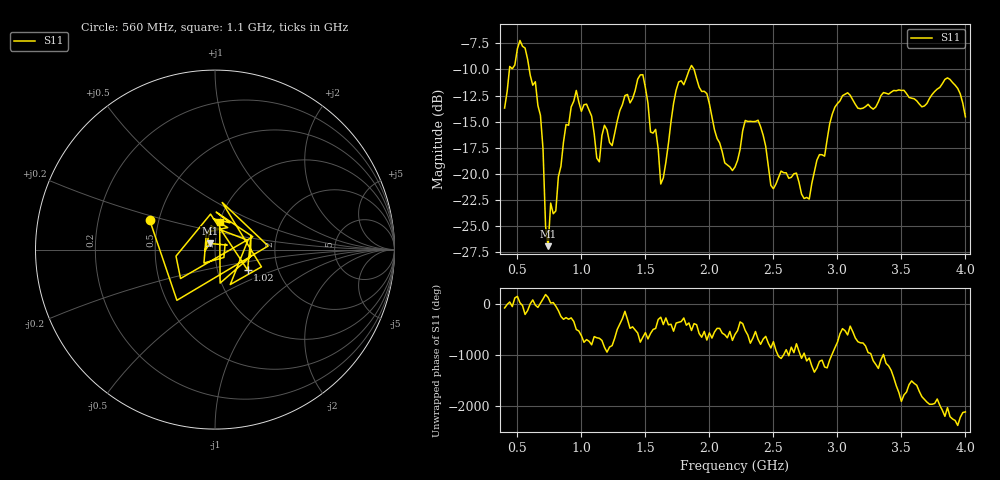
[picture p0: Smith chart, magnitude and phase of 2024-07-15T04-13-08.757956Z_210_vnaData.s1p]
!Created with skrf (http://scikit-rf.org).
# Hz S RI R 50.0
!freq ReS11 ImS11
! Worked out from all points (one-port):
!   181 points, 400 MHz to 4 GHz, reference 50 ohm
!   lowest |S11| = -26.9 dB at 740 MHz (marker M1), VSWR 1.09, Z = 47.1 + j3.24 ohm
!   |S11| at or under -10 dB: start of sweep to 437.6 MHz; 592.7 MHz to 1.845 GHz (1.252 GHz wide, 103 % of centre); 1.88 GHz to end of sweep
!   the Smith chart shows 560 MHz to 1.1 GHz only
!   S11 on the Smith chart (normalised r, x): 560 MHz: 0.44, +0.18; 1.02 GHz: 1.40, -0.33; 1.1 GHz: 1.00, +0.32
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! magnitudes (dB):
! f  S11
! 400 MHz  -13.7
! 440 MHz  -9.7
! 560 MHz  -8.0
! 680 MHz  -14.4
! 740 MHz  -26.9
! 760 MHz  -22.8
! 800 MHz  -23.6
! 860 MHz  -17.0
! 960 MHz  -12.0
! 1.02 GHz  -13.4
! 1.1 GHz  -16.2
! 1.14 GHz  -18.9
! 1.3 GHz  -14.0
! 1.48 GHz  -10.5
! 1.62 GHz  -21.0
! 1.76 GHz  -11.2
! 1.88 GHz  -10.0
! 2.2 GHz  -19.4
! 2.28 GHz  -14.9
! 2.38 GHz  -14.9
! 2.48 GHz  -21.1
! 2.66 GHz  -20.0
! 2.78 GHz  -22.4
! 2.98 GHz  -13.6
! 3.1 GHz  -12.5
! 3.56 GHz  -12.7
! 3.86 GHz  -10.8
! 4 GHz  -14.5
